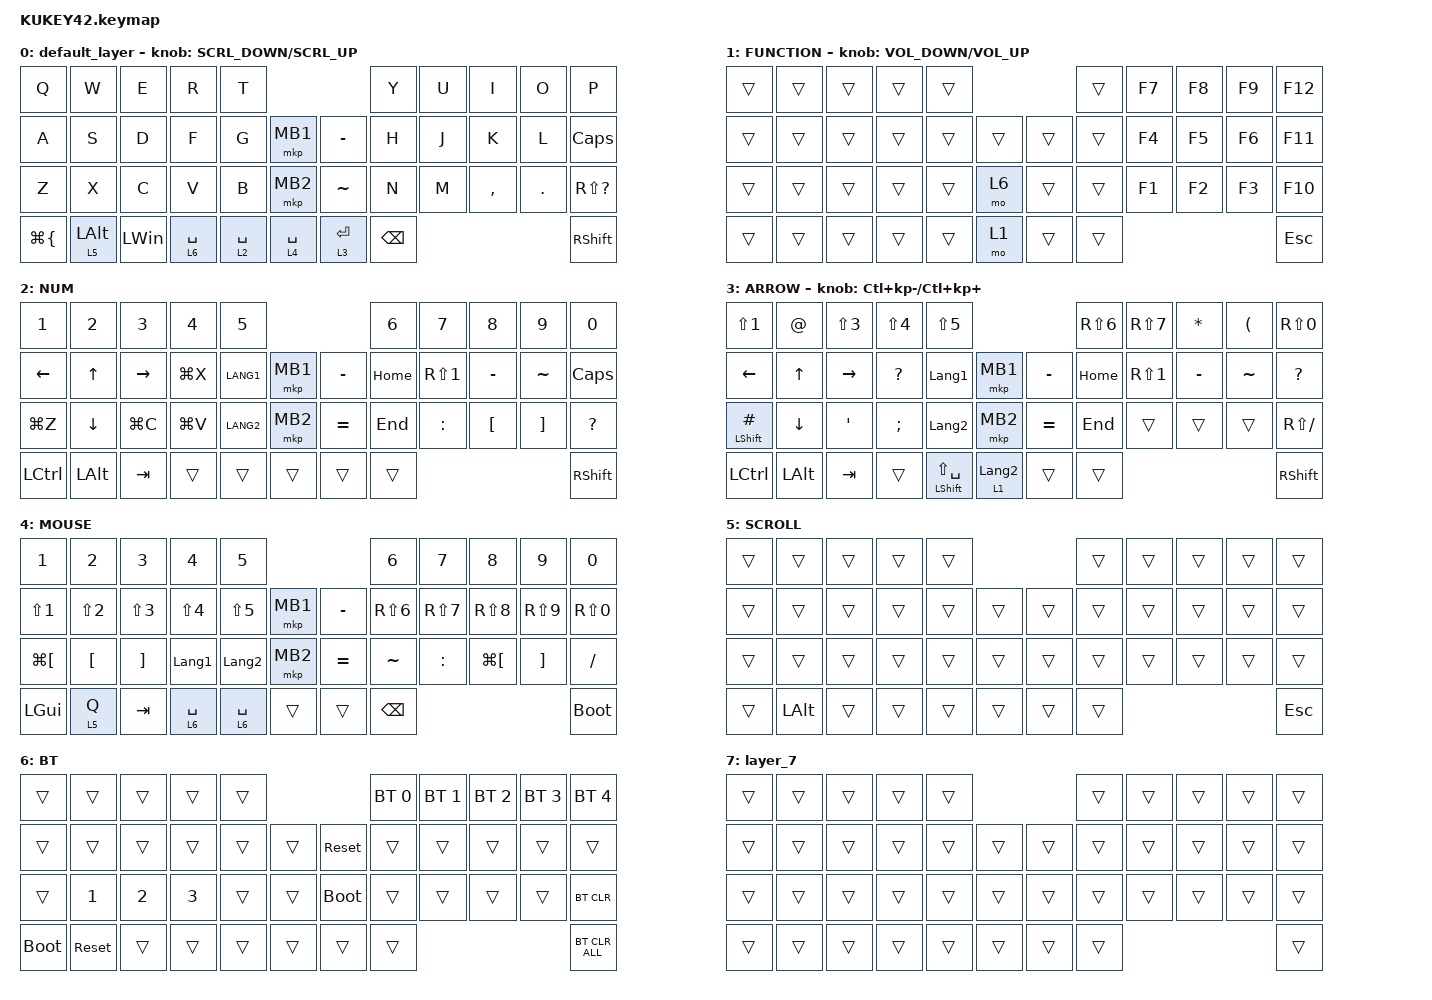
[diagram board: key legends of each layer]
#define ZMK_POINTING_DEFAULT_SCRL_VAL 80

#include <behaviors.dtsi>
#include <dt-bindings/zmk/bt.h>
#include <dt-bindings/zmk/keys.h>
#include <dt-bindings/zmk/pointing.h>

#define MOUSE 4
#define SCROLL 5
#define NUM 6

&mt {
    flavor = "balanced";
    quick-tap-ms = <0>;
};

/ {
    combos { compatible = "zmk,combos"; };

    macros {
        to_layer_0: to_layer_0 {
            compatible = "zmk,behavior-macro-one-param";
            #binding-cells = <1>;
            bindings = <&to 0 &macro_param_1to1 &kp MACRO_PLACEHOLDER>;
            label = "TO_LAYER_0";
        };
    };

    behaviors {
        lt_to_layer_0: lt_to_layer_0 {
            compatible = "zmk,behavior-hold-tap";
            label = "LAYER_TAP_TO_0";
            bindings = <&mo>, <&to_layer_0>;

            #binding-cells = <2>;
            tapping-term-ms = <200>;
        };

        tapdance_kana: tapdance_kana {
            compatible = "zmk,behavior-tap-dance";
            label = "TAPDANCE_KANA";
            #binding-cells = <0>;
            bindings = <&kp INT2>, <&kp LANGUAGE_2>, <&sl 1>;

            tapping-term-ms = <400>;
        };

        WheelScroll: WheelScroll {
            compatible = "zmk,behavior-sensor-rotate-var";
            label = "WHEELSCROLL";
            #sensor-binding-cells = <2>;
            bindings = <&msc>, <&msc>;

            tap-ms = <20>;
        };
    };

    keymap {
        compatible = "zmk,keymap";

        default_layer {
            bindings = <
&kp Q               &kp W           &kp E         &kp R        &kp T                                      &kp Y          &kp U  &kp I      &kp O    &kp P
&kp A               &kp S           &kp D         &kp F        &kp G        &mkp MB1         &kp MINUS    &kp H          &kp J  &kp K      &kp L    &kp CLCK
&kp Z               &kp X           &kp C         &kp V        &kp B        &mkp MB2         &kp TILDE    &kp N          &kp M  &kp COMMA  &kp DOT  &kp RS(QMARK)
&kp LG(LEFT_BRACE)  &lt 5 LEFT_ALT  &kp LEFT_WIN  &lt 6 SPACE  &lt 2 SPACE  &lt 4 SPACE      &lt 3 ENTER  &kp BACKSPACE                             &kp RIGHT_SHIFT
            >;

            sensor-bindings = <&WheelScroll SCRL_DOWN SCRL_UP>;
        };

        FUNCTION {
            bindings = <
&trans  &trans  &trans  &trans  &trans                      &trans  &kp F7  &kp F8  &kp F9  &kp F12
&trans  &trans  &trans  &trans  &trans  &trans      &trans  &trans  &kp F4  &kp F5  &kp F6  &kp F11
&trans  &trans  &trans  &trans  &trans  &mo 6       &trans  &trans  &kp F1  &kp F2  &kp F3  &kp F10
&trans  &trans  &trans  &trans  &trans  &mo 1       &trans  &trans                          &kp ESCAPE
            >;

            sensor-bindings = <&inc_dec_kp C_VOLUME_DOWN C_VOLUME_UP>;
        };

        NUM {
            bindings = <
&kp NUMBER_1      &kp NUMBER_2    &kp NUMBER_3  &kp NUMBER_4  &kp N5                              &kp NUMBER_6  &kp N7            &kp N8            &kp N9             &kp N0
&kp LEFT          &kp UP_ARROW    &kp RIGHT     &kp LG(X)     &kp LANG1  &mkp MB1      &kp MINUS  &kp HOME      &kp RS(NUMBER_1)  &kp MINUS         &kp TILDE          &kp CLCK
&kp LG(Z)         &kp DOWN_ARROW  &kp LG(C)     &kp LG(V)     &kp LANG2  &mkp MB2      &kp EQUAL  &kp END       &kp COLON         &kp LEFT_BRACKET  &kp RIGHT_BRACKET  &kp QMARK
&kp LEFT_CONTROL  &kp LEFT_ALT    &kp TAB       &trans        &trans     &trans        &trans     &trans                                                               &kp RIGHT_SHIFT
            >;
        };

        ARROW {
            bindings = <
&kp LS(NUMBER_1)     &kp AT_SIGN     &kp LS(NUMBER_3)  &kp LS(NUMBER_4)  &kp LS(N5)                                                 &kp RS(NUMBER_6)  &kp RS(N7)        &kp ASTERISK  &kp LEFT_PARENTHESIS  &kp RS(N0)
&kp LEFT             &kp UP_ARROW    &kp RIGHT         &kp QUESTION      &kp LANGUAGE_1            &mkp MB1              &kp MINUS  &kp HOME          &kp RS(NUMBER_1)  &kp MINUS     &kp TILDE             &kp QMARK
&mt LEFT_SHIFT HASH  &kp DOWN_ARROW  &kp SINGLE_QUOTE  &kp SEMICOLON     &kp LANGUAGE_2            &mkp MB2              &kp EQUAL  &kp END           &trans            &trans        &trans                &kp RS(SLASH)
&kp LEFT_CONTROL     &kp LEFT_ALT    &kp TAB           &trans            &mt LEFT_SHIFT LS(SPACE)  &lt 1 LANGUAGE_2      &trans     &trans                                                                  &kp RIGHT_SHIFT
            >;

            sensor-bindings = <&inc_dec_kp LC(KP_MINUS) LC(KP_PLUS)>;
        };

        MOUSE {
            bindings = <
&kp NUMBER_1          &kp NUMBER_2      &kp NUMBER_3       &kp NUMBER_4      &kp N5                                   &kp NUMBER_6      &kp N7      &kp N8                &kp N9             &kp N0
&kp LS(NUMBER_1)      &kp LS(NUMBER_2)  &kp LS(NUMBER_3)   &kp LS(NUMBER_4)  &kp LS(N5)      &mkp MB1      &kp MINUS  &kp RS(NUMBER_6)  &kp RS(N7)  &kp RS(N8)            &kp RS(N9)         &kp RS(N0)
&kp LG(LEFT_BRACKET)  &kp LEFT_BRACKET  &kp RIGHT_BRACKET  &kp LANGUAGE_1    &kp LANGUAGE_2  &mkp MB2      &kp EQUAL  &kp TILDE         &kp COLON   &kp LG(LEFT_BRACKET)  &kp RIGHT_BRACKET  &kp SLASH
&kp LEFT_GUI          &lt 5 Q           &kp TAB            &lt 6 SPACE       &lt 6 SPACE     &trans        &trans     &kp BACKSPACE                                                          &bootloader
            >;
        };

        SCROLL {
            bindings = <
&trans  &trans        &trans  &trans  &trans                      &trans  &trans  &trans  &trans  &trans
&trans  &trans        &trans  &trans  &trans  &trans      &trans  &trans  &trans  &trans  &trans  &trans
&trans  &trans        &trans  &trans  &trans  &trans      &trans  &trans  &trans  &trans  &trans  &trans
&trans  &kp LEFT_ALT  &trans  &trans  &trans  &trans      &trans  &trans                          &kp ESCAPE
            >;
        };

        BT {
            bindings = <
&trans       &trans        &trans        &trans        &trans                           &bt BT_SEL 0  &bt BT_SEL 1  &bt BT_SEL 2  &bt BT_SEL 3  &bt BT_SEL 4
&trans       &trans        &trans        &trans        &trans  &trans      &sys_reset   &trans        &trans        &trans        &trans        &trans
&trans       &kp NUMBER_1  &kp NUMBER_2  &kp NUMBER_3  &trans  &trans      &bootloader  &trans        &trans        &trans        &trans        &bt BT_CLR
&bootloader  &sys_reset    &trans        &trans        &trans  &trans      &trans       &trans                                                  &bt BT_CLR_ALL
            >;
        };

        layer_7 {
            bindings = <
&trans  &trans  &trans  &trans  &trans                      &trans  &trans  &trans  &trans  &trans
&trans  &trans  &trans  &trans  &trans  &trans      &trans  &trans  &trans  &trans  &trans  &trans
&trans  &trans  &trans  &trans  &trans  &trans      &trans  &trans  &trans  &trans  &trans  &trans
&trans  &trans  &trans  &trans  &trans  &trans      &trans  &trans                          &trans
            >;
        };
    };
};
